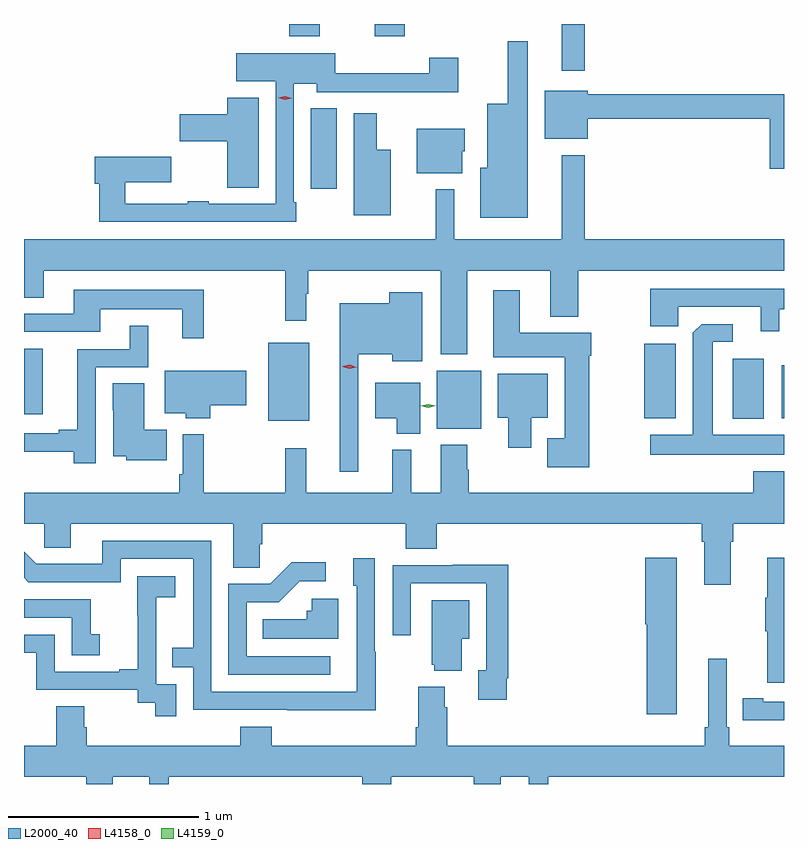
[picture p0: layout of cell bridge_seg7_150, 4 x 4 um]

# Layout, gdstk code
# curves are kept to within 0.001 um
import gdstk
lib = gdstk.Library(unit=1e-6, precision=1e-09)
def R(c, l, rs):  # rectangles x0, y0, x1, y1
    for r in rs: c.add(gdstk.rectangle(r[:2], r[2:], *l))
def P(c, l, *ps):  # polygons
    for p in ps: c.add(gdstk.Polygon(p, *l))
L2000_40 = (2000, 40)
L4158_0 = (4158, 0)
L4159_0 = (4159, 0)

bridge_seg7_150 = lib.new_cell('bridge_seg7_150')
R(bridge_seg7_150, L2000_40, [(588.488,1054.397,588.721,1054.702), (587.6,1054.439,587.815,1054.849), (590.045,1054.448,590.209,1054.765), (589.579,1054.451,589.744,1054.843), (590.303,1054.451,590.315,1054.729), (586.315,1054.472,586.414,1054.816), (587.825,1055.658,587.962,1056.083), (589.145,1056.279,589.267,1056.526), (587.711,1056.461,587.871,1056.526), (588.16,1056.461,588.32,1056.526)])
P(bridge_seg7_150, L2000_40, [(588.967,1056.436),(588.861,1056.436),(588.861,1056.106),(588.752,1056.106),(588.752,1055.77),(588.716,1055.77),(588.716,1055.507),(588.967,1055.507)],
  [(587.749,1055.587),(587.736,1055.587),(587.736,1056.212),(587.856,1056.212),(587.856,1056.168),(588.365,1056.168),(588.365,1056.167),(588.601,1056.167),(588.601,1056.349),(588.449,1056.349),(588.449,1056.266),(587.952,1056.266),(587.952,1056.373),(587.433,1056.373),(587.433,1056.224),(587.64,1056.224),(587.64,1055.58),(587.288,1055.58),(587.288,1055.593),(587.176,1055.593),(587.176,1055.58),(586.847,1055.58),(586.847,1055.693),(587.089,1055.693),(587.089,1055.828),(586.688,1055.828),(586.688,1055.686),(586.711,1055.686),(586.711,1055.484),(587.749,1055.484)],
  [(590.315,1056.157),(589.282,1056.157),(589.282,1056.175),(589.055,1056.175),(589.055,1055.921),(589.282,1055.921),(589.282,1056.028),(590.24,1056.028),(590.24,1055.763),(590.315,1055.763)],
  [(587.551,1056.139),(587.384,1056.139),(587.384,1056.05),(587.136,1056.05),(587.136,1055.908),(587.384,1055.908),(587.384,1055.665),(587.551,1055.665)],
  [(588.244,1055.863),(588.172,1055.863),(588.172,1056.055),(588.05,1056.055),(588.05,1055.519),(588.244,1055.519)],
  [(588.622,1055.856),(588.634,1055.856),(588.634,1055.974),(588.383,1055.974),(588.383,1055.741),(588.622,1055.741)],
  [(588.649,1055.228),(589.085,1055.228),(589.085,1054.985),(589.233,1054.985),(589.233,1055.228),(590.315,1055.228),(590.315,1055.392),(589.267,1055.392),(589.267,1055.836),(589.145,1055.836),(589.145,1055.392),(588.58,1055.392),(588.58,1055.656),(588.481,1055.656),(588.481,1055.392),(586.315,1055.392),(586.315,1055.086),(586.42,1055.086),(586.42,1055.228),(587.691,1055.228),(587.691,1054.965),(587.8,1054.965),(587.8,1055.105),(587.812,1055.105),(587.812,1055.228),(588.509,1055.228),(588.509,1054.787),(588.649,1054.787)],
  [(590.29,1055.025),(590.315,1055.025),(590.315,1055.133),(589.612,1055.133),(589.612,1054.934),(589.758,1054.934),(589.758,1055.037),(590.192,1055.037),(590.192,1054.908),(590.29,1054.908)],
  [(587.261,1055.128),(586.577,1055.128),(586.577,1055.001),(586.315,1055.001),(586.315,1054.905),(586.717,1054.905),(586.717,1055.024),(587.147,1055.024),(587.147,1054.872),(587.261,1054.872)],
  [(589.29,1054.779),(589.3,1054.779),(589.3,1054.9),(588.925,1054.9),(588.925,1055.125),(588.785,1055.125),(588.785,1054.772),(589.16,1054.772),(589.16,1054.345),(589.07,1054.345),(589.07,1054.193),(589.29,1054.193)],
  [(588.075,1054.787),(588.254,1054.787),(588.254,1054.751),(588.412,1054.751),(588.412,1055.113),(588.237,1055.113),(588.237,1055.056),(587.978,1055.056),(587.978,1054.17),(588.075,1054.17)],
  [(590.315,1054.363),(589.939,1054.363),(589.939,1054.854),(590.044,1054.854),(590.044,1054.947),(589.882,1054.947),(589.836,1054.901),(589.835,1054.363),(589.611,1054.363),(589.611,1054.259),(590.315,1054.259)],
  [(586.692,1054.719),(586.969,1054.719),(586.969,1054.939),(586.871,1054.939),(586.871,1054.815),(586.595,1054.815),(586.595,1054.391),(586.499,1054.391),(586.499,1054.371),(586.315,1054.371),(586.315,1054.274),(586.576,1054.274),(586.576,1054.215),(586.692,1054.215)],
  [(587.295,1054.519),(587.485,1054.519),(587.485,1054.702),(587.057,1054.702),(587.057,1054.478),(587.166,1054.478),(587.166,1054.451),(587.295,1054.451)],
  [(588.985,1054.454),(589.072,1054.454),(589.072,1054.684),(588.809,1054.684),(588.809,1054.454),(588.863,1054.454),(588.863,1054.296),(588.985,1054.296)],
  [(588.4,1054.639),(588.164,1054.639),(588.164,1054.451),(588.278,1054.451),(588.278,1054.37),(588.4,1054.37)],
  [(587.066,1054.39),(586.948,1054.39),(586.948,1054.634),(586.781,1054.634),(586.781,1054.494),(586.784,1054.494),(586.784,1054.25),(586.854,1054.25),(586.854,1054.229),(587.066,1054.229)],
  [(590.035,1053.8),(590.048,1053.8),(590.048,1053.896),(590.315,1053.896),(590.315,1054.171),(590.153,1054.171),(590.153,1054.06),(588.657,1054.06),(588.657,1054.181),(588.649,1054.181),(588.649,1054.312),(588.509,1054.312),(588.509,1054.06),(588.352,1054.06),(588.352,1054.285),(588.254,1054.285),(588.254,1054.06),(587.801,1054.06),(587.801,1054.294),(587.691,1054.294),(587.691,1054.06),(587.26,1054.06),(587.26,1054.366),(587.151,1054.366),(587.151,1054.156),(587.131,1054.156),(587.131,1054.06),(586.315,1054.06),(586.315,1053.896),(586.422,1053.896),(586.422,1053.769),(586.561,1053.769),(586.561,1053.896),(587.417,1053.896),(587.417,1053.664),(587.556,1053.664),(587.556,1053.787),(587.57,1053.787),(587.57,1053.896),(588.323,1053.896),(588.323,1053.763),(588.488,1053.763),(588.488,1053.896),(589.883,1053.896),(589.883,1053.8),(589.895,1053.8),(589.895,1053.576),(590.035,1053.576)],
  [(588.165,1053.221),(588.162,1053.221),(588.162,1053.715),(588.047,1053.715),(588.047,1053.57),(588.066,1053.57),(588.065,1053.012),(587.301,1053.012),(587.301,1053.807),(586.727,1053.807),(586.727,1053.684),(586.38,1053.684),(586.315,1053.749),(586.315,1053.611),(586.338,1053.588),(586.824,1053.588),(586.824,1053.711),(587.205,1053.711),(587.205,1053.242),(587.095,1053.242),(587.095,1053.141),(587.205,1053.141),(587.205,1052.916),(588.165,1052.915)],
  [(590.315,1053.718),(590.228,1053.718),(590.228,1053.505),(590.217,1053.505),(590.217,1053.331),(590.228,1053.331),(590.228,1053.06),(590.315,1053.06)],
  [(589.75,1053.718),(589.586,1053.718),(589.586,1053.366),(589.592,1053.366),(589.592,1052.892),(589.75,1052.892)],
  [(587.926,1053.198),(587.487,1053.198),(587.487,1053.483),(587.656,1053.483),(587.767,1053.594),(587.902,1053.594),(587.902,1053.692),(587.723,1053.692),(587.61,1053.579),(587.391,1053.579),(587.391,1053.102),(587.926,1053.102)],
  [(588.856,1053.082),(588.863,1053.082),(588.863,1053.68),(588.571,1053.68),(588.571,1053.678),(588.255,1053.678),(588.255,1053.309),(588.351,1053.309),(588.351,1053.582),(588.747,1053.582),(588.747,1053.126),(588.707,1053.126),(588.707,1052.97),(588.856,1052.97)],
  [(587.115,1053.051),(587.01,1053.051),(587.01,1053.281),(587.012,1053.281),(587.012,1053.509),(587.11,1053.509),(587.11,1053.619),(586.912,1053.619),(586.912,1053.413),(586.913,1053.413),(586.913,1053.13),(586.817,1053.13),(586.817,1053.117),(586.476,1053.117),(586.476,1053.312),(586.315,1053.312),(586.315,1053.216),(586.38,1053.216),(586.38,1053.021),(586.914,1053.021),(586.914,1052.953),(587.007,1052.953),(587.007,1052.883),(587.115,1052.883)],
  [(587.968,1053.502),(587.829,1053.502),(587.829,1053.438),(587.803,1053.438),(587.803,1053.394),(587.572,1053.394),(587.572,1053.29),(587.968,1053.29)],
  [(586.714,1053.313),(586.665,1053.313),(586.665,1053.498),(586.315,1053.498),(586.315,1053.402),(586.566,1053.402),(586.566,1053.204),(586.714,1053.204)],
  [(588.619,1053.29),(588.658,1053.29),(588.658,1053.493),(588.461,1053.493),(588.461,1053.153),(588.473,1053.153),(588.473,1053.122),(588.619,1053.122)],
  [(586.783,1052.564),(586.973,1052.564),(586.973,1052.526),(587.077,1052.526),(587.077,1052.564),(588.095,1052.564),(588.095,1052.526),(588.247,1052.526),(588.247,1052.564),(588.683,1052.564),(588.683,1052.526),(588.823,1052.526),(588.823,1052.564),(588.971,1052.564),(588.971,1052.526),(589.075,1052.526),(589.075,1052.564),(590.315,1052.564),(590.315,1052.728),(590.027,1052.728),(590.027,1052.824),(590.013,1052.824),(590.013,1053.184),(589.916,1053.184),(589.916,1052.824),(589.897,1052.824),(589.897,1052.728),(588.542,1052.728),(588.542,1052.93),(588.529,1052.93),(588.529,1053.037),(588.389,1053.037),(588.389,1052.824),(588.377,1052.824),(588.377,1052.728),(587.618,1052.728),(587.618,1052.827),(587.453,1052.827),(587.453,1052.728),(586.646,1052.728),(586.646,1052.826),(586.633,1052.826),(586.633,1052.936),(586.486,1052.936),(586.486,1052.728),(586.315,1052.728),(586.315,1052.564),(586.643,1052.564),(586.643,1052.526),(586.783,1052.526)],
  [(590.315,1052.958),(590.206,1052.958),(590.206,1052.978),(590.098,1052.978),(590.098,1052.862),(590.206,1052.862),(590.206,1052.861),(590.315,1052.861)])
P(bridge_seg7_150, L4158_0, [(588.028,1054.712),(587.993,1054.723),(587.993,1054.724),(587.993,1054.724),(588.029,1054.732),(588.064,1054.72),(588.065,1054.72),(588.064,1054.72)],
  [(587.688,1056.127),(587.654,1056.138),(587.654,1056.138),(587.654,1056.138),(587.689,1056.147),(587.723,1056.136),(587.724,1056.135),(587.723,1056.135)])
P(bridge_seg7_150, L4159_0, [(588.443,1054.506),(588.404,1054.516),(588.404,1054.516),(588.404,1054.517),(588.443,1054.526),(588.482,1054.517),(588.482,1054.516),(588.482,1054.516)])

lib.write_gds('bridge_seg7_150.gds')
